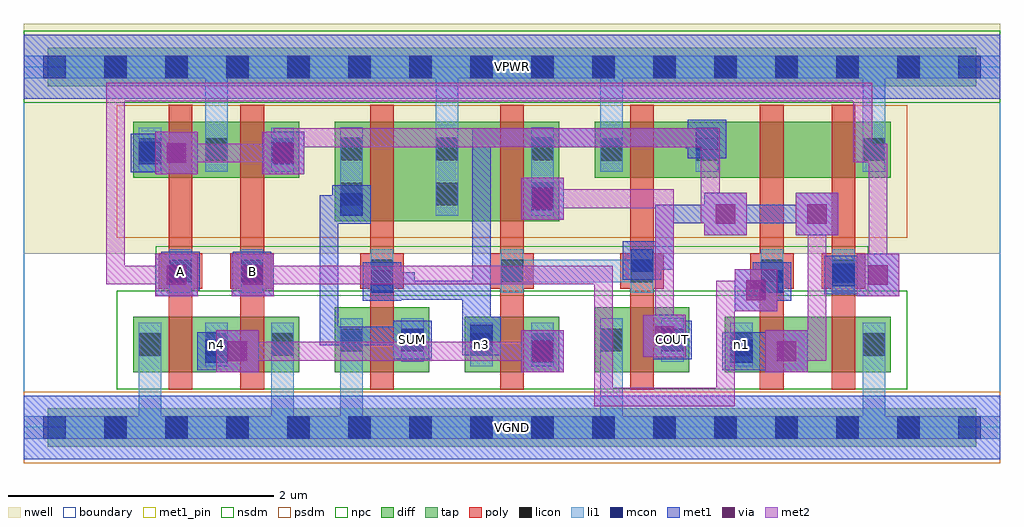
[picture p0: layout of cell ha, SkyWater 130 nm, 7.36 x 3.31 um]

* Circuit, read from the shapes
.subckt ha A B COUT SUM VGND VPWR n1 n3 n4
XM1 n4 A VGND VGND sky130_fd_pr__nfet_01v8 w=0.42 l=0.18
XM2 VGND B n4 VGND sky130_fd_pr__nfet_01v8 w=0.42 l=0.18
XM3 SUM n3 VGND VGND sky130_fd_pr__nfet_01v8 w=0.49 l=0.18
XM4 n4 n1 n3 VGND sky130_fd_pr__nfet_01v8 w=0.42 l=0.18
XM5 COUT n1 VGND VGND sky130_fd_pr__nfet_01v8 w=0.49 l=0.18
XM6 n2 B n1 VGND sky130_fd_pr__nfet_01v8 w=0.42 l=0.18
XM7 VGND A n2 VGND sky130_fd_pr__nfet_01v8 w=0.42 l=0.18
XM8 VPWR A n1 VPWR sky130_fd_pr__pfet_01v8 w=0.42 l=0.18
XM9 n1 B VPWR VPWR sky130_fd_pr__pfet_01v8 w=0.42 l=0.18
XM10 VPWR n3 SUM VPWR sky130_fd_pr__pfet_01v8 w=0.75 l=0.18
XM11 COUT n1 VPWR VPWR sky130_fd_pr__pfet_01v8 w=0.75 l=0.18
XM12 n3 n1 VPWR VPWR sky130_fd_pr__pfet_01v8 w=0.42 l=0.18
XM13 n5 B n3 VPWR sky130_fd_pr__pfet_01v8 w=0.42 l=0.18
XM14 VPWR A n5 VPWR sky130_fd_pr__pfet_01v8 w=0.42 l=0.18
.ends

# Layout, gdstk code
import gdstk
lib = gdstk.Library(unit=1e-6, precision=1e-09)
def R(c, l, rs):  # rectangles x0, y0, x1, y1
    for r in rs: c.add(gdstk.rectangle(r[:2], r[2:], *l))
def A(c, l, x, y, w, h, nx, ny, dx, dy):  # array of equal rectangles
    R(c, l, [(x+i*dx, y+j*dy, x+i*dx+w, y+j*dy+h) for i in range(nx) for j in range(ny)])
nwell = (64, 20)
diff = (65, 20)
tap = (65, 44)
poly = (66, 20)
licon = (66, 44)
li1 = (67, 20)
mcon = (67, 44)
met1_pin = (68, 16)
met1 = (68, 20)
via = (68, 44)
met2 = (69, 20)
nsdm = (93, 44)
psdm = (94, 20)
npc = (95, 20)
boundary = (235, 4)

c_ha = lib.new_cell('ha')
R(c_ha, nwell, [(0,1.31,7.36,3.045)])
R(c_ha, diff, [(0.825,0.415,2.075,0.835), (2.345,0.415,3.055,0.905), (3.325,0.415,4.035,0.835), (4.305,0.415,5.015,0.905), (5.285,0.415,6.535,0.835), (2.345,1.555,4.035,2.305), (0.825,1.885,2.075,2.305), (4.305,1.885,6.535,2.305)])
R(c_ha, tap, [(0.18,-0.145,7.18,0.145), (0.18,2.575,7.18,2.865)])
A(c_ha, poly, 1.63, 0.285, 0.18, 2.15, 5, 1, 0.98, 0)
A(c_ha, poly, 1.555, 1.045, 0.33, 0.27, 5, 1, 0.98, 0)
R(c_ha, poly, [(1.09,0.285,1.27,2.435), (6.09,0.285,6.27,2.435), (1.015,1.045,1.345,1.315), (6.015,1.045,6.345,1.315)])
A(c_ha, licon, 0.605, -0.085, 0.17, 0.17, 14, 2, 0.46, 2.72)
A(c_ha, licon, 0.865, 0.54, 0.17, 0.17, 3, 2, 0.5, 1.47)
A(c_ha, licon, 1.635, 1.095, 0.17, 0.17, 5, 1, 0.98, 0)
A(c_ha, licon, 2.385, 1.675, 0.17, 0.17, 3, 2, 0.72, 0.34)
R(c_ha, licon, [(3.365,0.54,3.535,0.71), (3.825,0.54,3.995,0.71), (5.325,0.54,5.495,0.71), (6.325,0.54,6.495,0.71), (2.385,0.575,2.555,0.745), (2.845,0.575,3.015,0.745), (4.345,0.575,4.515,0.745), (4.805,0.575,4.975,0.745), (1.095,1.095,1.265,1.265), (6.095,1.095,6.265,1.265), (4.345,2.01,4.515,2.18), (5.065,2.01,5.235,2.18), (6.325,2.01,6.495,2.18)])
A(c_ha, li1, 0.865, 0.46, 0.17, 0.33, 3, 2, 0.5, 1.47)
A(c_ha, li1, 1.635, 1.015, 0.17, 0.33, 5, 1, 0.98, 0)
A(c_ha, li1, 2.385, 1.595, 0.17, 0.67, 3, 1, 0.72, 0)
R(c_ha, li1, [(0,-0.085,7.36,0.085), (0.865,-0.085,1.035,0.79), (1.865,-0.085,2.035,0.79), (2.385,-0.085,2.555,0.825), (4.345,-0.085,4.515,0.825), (6.325,-0.085,6.495,0.79), (3.365,0.46,3.535,0.79), (3.825,0.46,3.995,0.79), (5.325,0.46,5.495,0.79), (6.325,0.46,6.495,0.79), (2.385,0.495,2.555,0.825), (2.845,0.495,3.015,0.825), (4.345,0.495,4.515,0.825), (4.805,0.495,4.975,0.825), (1.095,1.015,1.265,1.345), (6.095,1.015,6.265,1.345), (3.595,1.095,4.745,1.265), (3.105,1.595,3.275,2.805), (1.365,1.93,1.535,2.805), (4.345,1.93,4.515,2.26), (4.345,1.93,4.515,2.805), (5.065,1.93,5.235,2.26), (6.325,1.93,6.495,2.26), (6.325,1.93,6.495,2.805), (0,2.635,7.36,2.805)])
A(c_ha, mcon, 0.145, -0.085, 0.17, 0.17, 16, 2, 0.46, 2.72)
R(c_ha, mcon, [(1.365,0.49,1.535,0.66), (3.825,0.49,3.995,0.66), (5.325,0.49,5.495,0.66), (2.845,0.575,3.015,0.745), (4.805,0.575,4.975,0.745), (3.365,0.605,3.535,0.775), (2.615,1.015,2.785,1.185), (5.555,1.015,5.725,1.185), (6.095,1.065,6.265,1.235), (1.095,1.095,1.265,1.265), (1.635,1.095,1.805,1.265), (4.575,1.175,4.745,1.345), (2.385,1.595,2.555,1.765), (3.825,1.64,3.995,1.81), (0.865,1.985,1.035,2.155), (1.865,1.985,2.035,2.155), (5.065,2.09,5.235,2.26)])
R(c_ha, met1_pin, [(0,-0.24,7.36,0.24), (2.785,0.515,3.075,0.805), (4.745,0.515,5.035,0.805), (1.035,1.035,1.325,1.325), (1.575,1.035,1.865,1.325), (0,2.48,7.36,2.96)])
R(c_ha, met1, [(0,-0.24,7.36,0.24), (1.45,0.415,1.77,0.735), (3.75,0.415,4.07,0.735), (5.59,0.415,5.91,0.735), (1.305,0.43,1.595,0.72), (3.765,0.43,4.055,0.72), (5.265,0.43,5.555,0.72), (5.555,0.43,5.59,0.72), (1.38,0.505,1.68,0.645), (5.34,0.505,5.59,0.645), (5.45,0.505,5.82,0.645), (2.785,0.515,3.075,0.805), (4.745,0.515,5.035,0.805), (4.67,0.53,4.99,0.85), (3.305,0.545,3.595,0.835), (2.23,0.62,2.945,0.76), (2.23,0.62,2.37,1.565), (2.805,0.62,2.945,0.76), (3.38,0.62,3.52,1.105), (4.76,0.62,4.9,0.76), (3.305,0.835,3.52,0.965), (5.36,0.875,5.68,1.195), (2.555,0.955,2.845,1.245), (5.495,0.955,5.785,1.245), (2.805,0.965,3.52,1.105), (2.805,0.965,2.945,1.17), (3.38,0.965,3.52,2.255), (5.45,0.965,5.59,1.17), (0.99,0.99,1.31,1.31), (1.565,0.99,1.885,1.31), (6.28,0.99,6.6,1.31), (6.035,1.005,6.325,1.295), (2.63,1.03,2.945,1.17), (5.45,1.03,5.71,1.17), (1.035,1.035,1.325,1.325), (1.575,1.035,1.865,1.325), (1.08,1.08,1.22,1.22), (1.655,1.08,1.795,1.22), (6.11,1.08,6.395,1.22), (6.255,1.08,6.51,1.22), (4.515,1.115,4.805,1.405), (4.59,1.19,4.9,1.33), (4.76,1.19,4.9,1.45), (4.76,1.31,4.9,1.68), (2.23,1.425,2.37,1.75), (5.13,1.45,5.45,1.77), (5.82,1.45,6.14,1.77), (2.325,1.535,2.615,1.825), (4.76,1.54,6.05,1.68), (3.75,1.565,4.07,1.885), (3.765,1.58,4.055,1.87), (2.23,1.61,2.54,1.75), (0.99,1.91,1.31,2.23), (1.795,1.91,2.115,2.23), (0.805,1.925,1.095,2.215), (1.805,1.925,2.095,2.215), (0.88,2,1.22,2.14), (1.88,2,2.025,2.14), (5.005,2.03,5.295,2.32), (4.99,2.105,5.22,2.245), (4.99,2.105,5.13,2.255), (3.38,2.115,5.13,2.255), (0,2.48,7.36,2.96)])
R(c_ha, via, [(1.535,0.5,1.685,0.65), (3.835,0.5,3.985,0.65), (5.675,0.5,5.825,0.65), (4.755,0.615,4.905,0.765), (5.445,0.96,5.595,1.11), (1.075,1.075,1.225,1.225), (1.65,1.075,1.8,1.225), (6.365,1.075,6.515,1.225), (5.215,1.535,5.365,1.685), (5.905,1.535,6.055,1.685), (3.835,1.65,3.985,1.8), (1.075,1.995,1.225,2.145), (1.88,1.995,2.03,2.145)])
R(c_ha, met2, [(4.3,0.16,5.36,0.3), (4.3,0.16,4.44,1.22), (5.22,0.16,5.36,1.105), (1.45,0.415,1.77,0.735), (3.75,0.415,4.07,0.735), (5.59,0.415,5.91,0.735), (1.54,0.505,3.98,0.645), (5.68,0.505,6.05,0.645), (5.91,0.505,6.05,1.68), (4.67,0.53,4.99,0.85), (4.76,0.62,4.9,1.795), (5.36,0.875,5.68,1.195), (5.22,0.965,5.59,1.105), (0.99,0.99,1.31,1.31), (1.565,0.99,1.885,1.31), (6.28,0.99,6.6,1.31), (0.62,1.08,1.22,1.22), (0.62,1.08,0.76,2.6), (1.655,1.08,4.44,1.22), (6.37,1.08,6.51,2.14), (5.13,1.45,5.45,1.77), (5.82,1.45,6.14,1.77), (5.105,1.54,5.36,1.68), (5.105,1.54,5.245,2.255), (3.75,1.565,4.07,1.885), (3.84,1.655,4.9,1.795), (0.99,1.91,1.31,2.23), (1.795,1.91,2.115,2.23), (1.08,2,2.025,2.14), (1.885,2,2.025,2.255), (6.255,2,6.51,2.14), (6.255,2,6.395,2.6), (1.885,2.115,5.245,2.255), (0.62,2.46,6.395,2.6)])
R(c_ha, nsdm, [(0.7,0.29,6.66,1.03), (0,2.45,7.36,2.99)])
R(c_ha, psdm, [(0,-0.27,7.36,0.27), (0.7,1.43,6.66,2.43)])
R(c_ha, npc, [(0.995,0.995,6.365,1.365)])
R(c_ha, boundary, [(0,0,7.36,2.72)])
c_ha.add(gdstk.Label('n4', (1.45,0.625), layer=67, texttype=5))
c_ha.add(gdstk.Label('n3', (3.45,0.625), layer=67, texttype=5))
c_ha.add(gdstk.Label('n1', (5.41,0.625), layer=67, texttype=5))
c_ha.add(gdstk.Label('A', (1.18,1.18), layer=68, texttype=5))
c_ha.add(gdstk.Label('B', (1.72,1.18), layer=68, texttype=5))
c_ha.add(gdstk.Label('SUM', (2.93,0.66), layer=68, texttype=5))
c_ha.add(gdstk.Label('COUT', (4.89,0.66), layer=68, texttype=5))
c_ha.add(gdstk.Label('VPWR', (3.68,2.72), layer=68, texttype=5))
c_ha.add(gdstk.Label('VGND', (3.68,0), layer=68, texttype=5))
c_ha.add(gdstk.Label('A', (1.18,1.18), layer=68, texttype=16))
c_ha.add(gdstk.Label('B', (1.72,1.18), layer=68, texttype=16))
c_ha.add(gdstk.Label('SUM', (2.93,0.66), layer=68, texttype=16))
c_ha.add(gdstk.Label('COUT', (4.89,0.66), layer=68, texttype=16))
c_ha.add(gdstk.Label('VPWR', (3.68,2.72), layer=68, texttype=16))
c_ha.add(gdstk.Label('VGND', (3.68,0), layer=68, texttype=16))

lib.write_gds('ha.gds')
